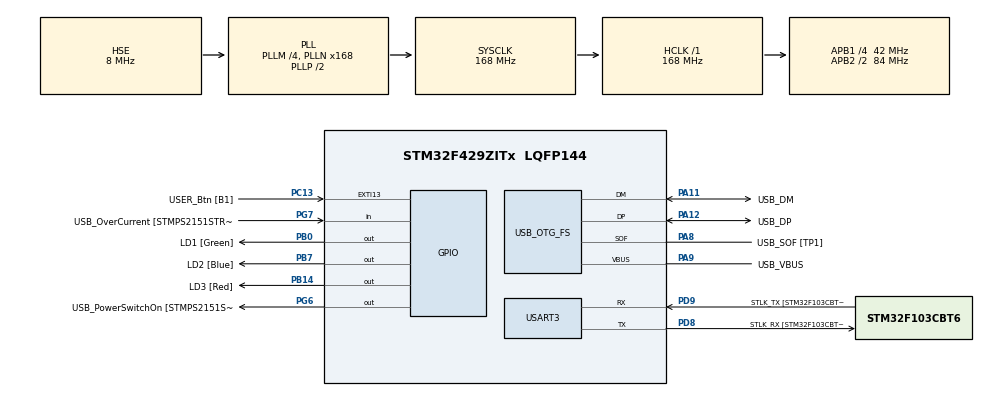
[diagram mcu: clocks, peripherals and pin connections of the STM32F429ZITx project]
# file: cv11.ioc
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Mcu.Family=STM32F4
Mcu.Name=STM32F429ZITx
Mcu.Package=LQFP144
NVIC.OTG_FS_IRQn=true\:0\:0\:false\:false\:true\:false\:true\:true
NVIC.PriorityGroup=NVIC_PRIORITYGROUP_4
PA1.GPIO_Label=RMII_REF_CLK [LAN8742A-CZ-TR_REFCLK0]
PA1.Signal=ETH_REF_CLK
PA10.GPIO_Label=USB_ID
PA10.Signal=USB_OTG_FS_ID
PA11.GPIO_Label=USB_DM
PA11.Mode=Device_Only
PA11.Signal=USB_OTG_FS_DM
PA12.GPIO_Label=USB_DP
PA12.Mode=Device_Only
PA12.Signal=USB_OTG_FS_DP
PA13.GPIO_Label=TMS
PA13.Mode=Serial_Wire
PA13.Signal=SYS_JTMS-SWDIO
PA14.GPIO_Label=TCK
PA14.Mode=Serial_Wire
PA14.Signal=SYS_JTCK-SWCLK
PA2.GPIO_Label=RMII_MDIO [LAN8742A-CZ-TR_MDIO]
PA2.Signal=ETH_MDIO
PA7.GPIO_Label=RMII_CRS_DV [LAN8742A-CZ-TR_CRS_DV]
PA7.Signal=ETH_CRS_DV
PA8.GPIO_Label=USB_SOF [TP1]
PA8.Mode=Activate_SOF_FS
PA8.Signal=USB_OTG_FS_SOF
PA9.GPIO_Label=USB_VBUS
PA9.Mode=Activate_VBUS
PA9.Signal=USB_OTG_FS_VBUS
PB0.GPIO_Label=LD1 [Green]
PB0.Signal=GPIO_Output
PB13.GPIO_Label=RMII_TXD1 [LAN8742A-CZ-TR_TXD1]
PB13.Signal=ETH_TXD1
PB14.GPIO_Label=LD3 [Red]
PB14.Signal=GPIO_Output
PB7.GPIO_Label=LD2 [Blue]
PB7.Signal=GPIO_Output
PC1.GPIO_Label=RMII_MDC [LAN8742A-CZ-TR_MDC]
PC1.Signal=ETH_MDC
PC13.GPIO_Label=USER_Btn [B1]
PC13.Signal=GPXTI13
PC14/OSC32_IN.Mode=LSE-External-Oscillator
PC14/OSC32_IN.Signal=RCC_OSC32_IN
PC15/OSC32_OUT.Mode=LSE-External-Oscillator
PC15/OSC32_OUT.Signal=RCC_OSC32_OUT
PC4.GPIO_Label=RMII_RXD0 [LAN8742A-CZ-TR_RXD0]
PC4.Signal=ETH_RXD0
PC5.GPIO_Label=RMII_RXD1 [LAN8742A-CZ-TR_RXD1]
PC5.Signal=ETH_RXD1
PD8.GPIO_Label=STLK_RX [STM32F103CBT6_PA3]
PD8.Mode=Asynchronous
PD8.Signal=USART3_TX
PD9.GPIO_Label=STLK_TX [STM32F103CBT6_PA2]
PD9.Mode=Asynchronous
PD9.Signal=USART3_RX
PG11.GPIO_Label=RMII_TX_EN [LAN8742A-CZ-TR_TXEN]
PG11.Signal=ETH_TX_EN
PG13.GPIO_Label=RMII_TXD0 [LAN8742A-CZ-TR_TXD0]
PG13.Signal=ETH_TXD0
PG6.GPIO_Label=USB_PowerSwitchOn [STMPS2151STR_EN]
PG6.Signal=GPIO_Output
PG7.GPIO_Label=USB_OverCurrent [STMPS2151STR_FAULT]
PG7.Signal=GPIO_Input
PH0/OSC_IN.GPIO_Label=MCO [STM32F103CBT6_PA8]
PH0/OSC_IN.Mode=HSE-External-Clock-Source
PH0/OSC_IN.Signal=RCC_OSC_IN
PH1/OSC_OUT.Mode=HSE-External-Clock-Source
PH1/OSC_OUT.Signal=RCC_OSC_OUT
ProjectManager.HeapSize=0x200
ProjectManager.StackSize=0x400
ProjectManager.TargetToolchain=STM32CubeIDE
RCC.48MHZClocksFreq_Value=48000000
RCC.AHBFreq_Value=168000000
RCC.APB1CLKDivider=RCC_HCLK_DIV4
RCC.APB1Freq_Value=42000000
RCC.APB1TimFreq_Value=84000000
RCC.APB2CLKDivider=RCC_HCLK_DIV2
RCC.APB2Freq_Value=84000000
RCC.APB2TimCLKDivider=2
RCC.APB2TimFreq_Value=168000000
RCC.CortexFreq_Value=168000000
RCC.HCLKFreq_Value=168000000
RCC.HSE_VALUE=8000000
RCC.HSI_VALUE=16000000
RCC.PLLM=4
RCC.PLLMUL=RCC_PLL_MUL9
RCC.PLLN=168
RCC.PLLQ=7
RCC.PRESCALERUSB=RCC_USBCLKSOURCE_PLL_DIV1_5
RCC.SYSCLKFreq_VALUE=168000000
RCC.SYSCLKSource=RCC_SYSCLKSOURCE_PLLCLK
RCC.SYSCLKSourceVirtual=RCC_SYSCLKSOURCE_PLLCLK
RCC.USBFreq_Value=48000000
RCC.VCOOutputFreq_Value=336000000
USART3.VirtualMode=VM_ASYNC
USB_DEVICE.CLASS_NAME_FS=HID
USB_DEVICE.VirtualMode-HID_FS=Hid
USB_DEVICE.VirtualModeFS=Hid_FS
USB_OTG_FS.VirtualMode=Device_Only
VP_USB_DEVICE_VS_USB_DEVICE_HID_FS.Mode=HID_FS
board=NUCLEO-F429ZI

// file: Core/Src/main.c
   /* USER CODE BEGIN Header */
/**
  ******************************************************************************
  * @file           : main.c
  * @brief          : Main program body
  ******************************************************************************
  * @attention
  *
  * Copyright (c) 2024 STMicroelectronics.
  * All rights reserved.
  *
  * This software is licensed under terms that can be found in the LICENSE file
  * in the root directory of this software component.
  * If no LICENSE file comes with this software, it is provided AS-IS.
  *
  ******************************************************************************
  */
/* USER CODE END Header */
#include "main.h"
#include "usb_device.h"

/* USER CODE BEGIN Includes */
#include "usbd_hid.h"
#include <math.h>
#include <stdbool.h>
/* USER CODE END Includes */

/* USER CODE BEGIN PTD */
extern USBD_HandleTypeDef hUsbDeviceFS;
/* USER CODE END PTD */

UART_HandleTypeDef huart3;

void SystemClock_Config(void);
static void MX_GPIO_Init(void);
static void MX_USART3_UART_Init(void);

/* USER CODE BEGIN 0 */
void step(int8_t x,int8_t y, bool btn)
{
	uint8_t buff[4];
	buff[0] = btn; // stiskni leve tlacitko
	buff[1] = (int8_t)(x); // posun X +10
	buff[2] = (int8_t)(y); // posun Y -3
	buff[3] = 0; // bez scrollu
	USBD_HID_SendReport(&hUsbDeviceFS, buff, sizeof(buff));
	HAL_Delay(USBD_HID_GetPollingInterval(&hUsbDeviceFS));
}

void circle(int radius, float start, float length)
{
    float x, y, phi;
    uint16_t sx = 0, sy = 0;
    uint16_t steps = 50;

    float startAngle = 2 * 3.1416 * start;
    float endAngle = 2 * 3.1416 * (start + length);

    for (uint8_t i = 0; i < steps; i++)
    {

        phi = 2 * 3.1416 * i / (steps - 1);

        x = radius * cosf(phi);
        y = radius * sinf(phi);

        if (phi >= startAngle && phi <= endAngle)
        {
            step((int16_t)sx + (int16_t)x, (int16_t)sy + (int16_t)y, 1);
        }
        else
        {
            step((int16_t)sx + (int16_t)x, (int16_t)sy + (int16_t)y, 0);
        }

        sx = (int16_t)x;
        sy = (int16_t)y;
    }

    step(0, 0, 0);
}

/* USER CODE END 0 */

int main(void)
{

  /* MCU Configuration--------------------------------------------------------*/

  /* Reset of all peripherals, Initializes the Flash interface and the Systick. */
  HAL_Init();

  /* Configure the system clock */
  SystemClock_Config();

  /* Initialize all configured peripherals */
  MX_GPIO_Init();
  MX_USART3_UART_Init();
  MX_USB_DEVICE_Init();

  /* Infinite loop */
  while (1)
  {
	  if(HAL_GPIO_ReadPin(USER_Btn_GPIO_Port, USER_Btn_Pin))
		  {
		  	  circle(7.5,0,1);
		  	  step(-30,35,0);
		  	  circle(2,0,1);
		  	  step(60,0,0);
		  	  circle(2,0,1);
		  	  step(-35,10,1);
		  	  step(0,30,0);
		  	  circle(3.5,0.295,0.4);

			  }

		  }
  }

void SystemClock_Config(void)
{
  RCC_OscInitTypeDef RCC_OscInitStruct = {0};
  RCC_ClkInitTypeDef RCC_ClkInitStruct = {0};

  /** Configure the main internal regulator output voltage
  */
  __HAL_RCC_PWR_CLK_ENABLE();
  __HAL_PWR_VOLTAGESCALING_CONFIG(PWR_REGULATOR_VOLTAGE_SCALE1);

  /** Initializes the RCC Oscillators according to the specified parameters
  * in the RCC_OscInitTypeDef structure.
  */
  RCC_OscInitStruct.OscillatorType = RCC_OSCILLATORTYPE_HSE;
  RCC_OscInitStruct.HSEState = RCC_HSE_BYPASS;
  RCC_OscInitStruct.PLL.PLLState = RCC_PLL_ON;
  RCC_OscInitStruct.PLL.PLLSource = RCC_PLLSOURCE_HSE;
  RCC_OscInitStruct.PLL.PLLM = 4;
  RCC_OscInitStruct.PLL.PLLN = 168;
  RCC_OscInitStruct.PLL.PLLP = RCC_PLLP_DIV2;
  RCC_OscInitStruct.PLL.PLLQ = 7;
  if (HAL_RCC_OscConfig(&RCC_OscInitStruct) != HAL_OK)
  {
    Error_Handler();
  }

  /** Initializes the CPU, AHB and APB buses clocks
  */
  RCC_ClkInitStruct.ClockType = RCC_CLOCKTYPE_HCLK|RCC_CLOCKTYPE_SYSCLK
                              |RCC_CLOCKTYPE_PCLK1|RCC_CLOCKTYPE_PCLK2;
  RCC_ClkInitStruct.SYSCLKSource = RCC_SYSCLKSOURCE_PLLCLK;
  RCC_ClkInitStruct.AHBCLKDivider = RCC_SYSCLK_DIV1;
  RCC_ClkInitStruct.APB1CLKDivider = RCC_HCLK_DIV4;
  RCC_ClkInitStruct.APB2CLKDivider = RCC_HCLK_DIV2;

  if (HAL_RCC_ClockConfig(&RCC_ClkInitStruct, FLASH_LATENCY_5) != HAL_OK)
  {
    Error_Handler();
  }
}

static void MX_USART3_UART_Init(void)
{

  huart3.Instance = USART3;
  huart3.Init.BaudRate = 115200;
  huart3.Init.WordLength = UART_WORDLENGTH_8B;
  huart3.Init.StopBits = UART_STOPBITS_1;
  huart3.Init.Parity = UART_PARITY_NONE;
  huart3.Init.Mode = UART_MODE_TX_RX;
  huart3.Init.HwFlowCtl = UART_HWCONTROL_NONE;
  huart3.Init.OverSampling = UART_OVERSAMPLING_16;
  if (HAL_UART_Init(&huart3) != HAL_OK)
  {
    Error_Handler();
  }

}

static void MX_GPIO_Init(void)
{
  GPIO_InitTypeDef GPIO_InitStruct = {0};

  /* GPIO Ports Clock Enable */
  __HAL_RCC_GPIOC_CLK_ENABLE();
  __HAL_RCC_GPIOH_CLK_ENABLE();
  __HAL_RCC_GPIOA_CLK_ENABLE();
  __HAL_RCC_GPIOB_CLK_ENABLE();
  __HAL_RCC_GPIOD_CLK_ENABLE();
  __HAL_RCC_GPIOG_CLK_ENABLE();

  /*Configure GPIO pin Output Level */
  HAL_GPIO_WritePin(GPIOB, LD1_Pin|LD3_Pin|LD2_Pin, GPIO_PIN_RESET);

  /*Configure GPIO pin Output Level */
  HAL_GPIO_WritePin(USB_PowerSwitchOn_GPIO_Port, USB_PowerSwitchOn_Pin, GPIO_PIN_RESET);

  /*Configure GPIO pin : USER_Btn_Pin */
  GPIO_InitStruct.Pin = USER_Btn_Pin;
  GPIO_InitStruct.Mode = GPIO_MODE_IT_RISING;
  GPIO_InitStruct.Pull = GPIO_NOPULL;
  HAL_GPIO_Init(USER_Btn_GPIO_Port, &GPIO_InitStruct);

  /*Configure GPIO pins : RMII_MDC_Pin RMII_RXD0_Pin RMII_RXD1_Pin */
  GPIO_InitStruct.Pin = RMII_MDC_Pin|RMII_RXD0_Pin|RMII_RXD1_Pin;
  GPIO_InitStruct.Mode = GPIO_MODE_AF_PP;
  GPIO_InitStruct.Pull = GPIO_NOPULL;
  GPIO_InitStruct.Speed = GPIO_SPEED_FREQ_VERY_HIGH;
  GPIO_InitStruct.Alternate = GPIO_AF11_ETH;
  HAL_GPIO_Init(GPIOC, &GPIO_InitStruct);

  /*Configure GPIO pins : RMII_REF_CLK_Pin RMII_MDIO_Pin RMII_CRS_DV_Pin */
  GPIO_InitStruct.Pin = RMII_REF_CLK_Pin|RMII_MDIO_Pin|RMII_CRS_DV_Pin;
  GPIO_InitStruct.Mode = GPIO_MODE_AF_PP;
  GPIO_InitStruct.Pull = GPIO_NOPULL;
  GPIO_InitStruct.Speed = GPIO_SPEED_FREQ_VERY_HIGH;
  GPIO_InitStruct.Alternate = GPIO_AF11_ETH;
  HAL_GPIO_Init(GPIOA, &GPIO_InitStruct);

  /*Configure GPIO pins : LD1_Pin LD3_Pin LD2_Pin */
  GPIO_InitStruct.Pin = LD1_Pin|LD3_Pin|LD2_Pin;
  GPIO_InitStruct.Mode = GPIO_MODE_OUTPUT_PP;
  GPIO_InitStruct.Pull = GPIO_NOPULL;
  GPIO_InitStruct.Speed = GPIO_SPEED_FREQ_LOW;
  HAL_GPIO_Init(GPIOB, &GPIO_InitStruct);

  /*Configure GPIO pin : RMII_TXD1_Pin */
  GPIO_InitStruct.Pin = RMII_TXD1_Pin;
  GPIO_InitStruct.Mode = GPIO_MODE_AF_PP;
  GPIO_InitStruct.Pull = GPIO_NOPULL;
  GPIO_InitStruct.Speed = GPIO_SPEED_FREQ_VERY_HIGH;
  GPIO_InitStruct.Alternate = GPIO_AF11_ETH;
  HAL_GPIO_Init(RMII_TXD1_GPIO_Port, &GPIO_InitStruct);

  /*Configure GPIO pin : USB_PowerSwitchOn_Pin */
  GPIO_InitStruct.Pin = USB_PowerSwitchOn_Pin;
  GPIO_InitStruct.Mode = GPIO_MODE_OUTPUT_PP;
  GPIO_InitStruct.Pull = GPIO_NOPULL;
  GPIO_InitStruct.Speed = GPIO_SPEED_FREQ_LOW;
  HAL_GPIO_Init(USB_PowerSwitchOn_GPIO_Port, &GPIO_InitStruct);

  /*Configure GPIO pin : USB_OverCurrent_Pin */
  GPIO_InitStruct.Pin = USB_OverCurrent_Pin;
  GPIO_InitStruct.Mode = GPIO_MODE_INPUT;
  GPIO_InitStruct.Pull = GPIO_NOPULL;
  HAL_GPIO_Init(USB_OverCurrent_GPIO_Port, &GPIO_InitStruct);

  /*Configure GPIO pins : RMII_TX_EN_Pin RMII_TXD0_Pin */
  GPIO_InitStruct.Pin = RMII_TX_EN_Pin|RMII_TXD0_Pin;
  GPIO_InitStruct.Mode = GPIO_MODE_AF_PP;
  GPIO_InitStruct.Pull = GPIO_NOPULL;
  GPIO_InitStruct.Speed = GPIO_SPEED_FREQ_VERY_HIGH;
  GPIO_InitStruct.Alternate = GPIO_AF11_ETH;
  HAL_GPIO_Init(GPIOG, &GPIO_InitStruct);

}

void Error_Handler(void)
{
  __disable_irq();
  while (1)
  {
  }
}
